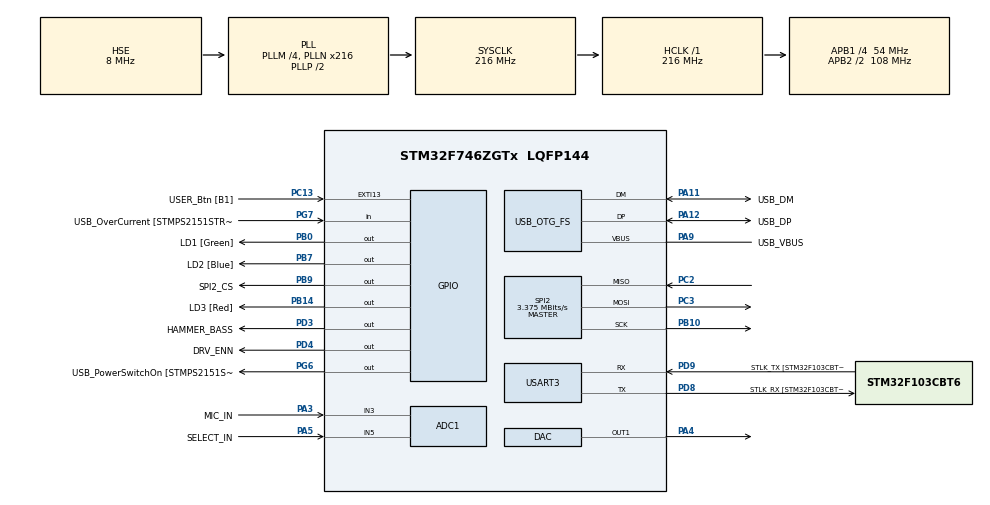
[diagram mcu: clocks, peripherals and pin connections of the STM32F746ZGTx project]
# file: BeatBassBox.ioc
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ADC1.Channel-0\#ChannelRegularConversion=ADC_CHANNEL_3
ADC1.ClockPrescaler=ADC_CLOCK_SYNC_PCLK_DIV8
ADC1.ContinuousConvMode=DISABLE
ADC1.DMAContinuousRequests=ENABLE
ADC1.EOCSelection=ADC_EOC_SEQ_CONV
ADC1.ExternalTrigConv=ADC_EXTERNALTRIGCONV_T5_TRGO
ADC1.ExternalTrigConvEdge=ADC_EXTERNALTRIGCONVEDGE_RISING
ADC1.NbrOfConversion=1
ADC1.NbrOfConversionFlag=1
ADC1.Rank-0\#ChannelRegularConversion=1
ADC1.SamplingTime-0\#ChannelRegularConversion=ADC_SAMPLETIME_480CYCLES
ADC1.master=1
ADC2.Channel-0\#ChannelRegularConversion=ADC_CHANNEL_5
ADC2.ClockPrescaler=ADC_CLOCK_SYNC_PCLK_DIV8
ADC2.NbrOfConversionFlag=1
ADC2.Rank-0\#ChannelRegularConversion=1
ADC2.SamplingTime-0\#ChannelRegularConversion=ADC_SAMPLETIME_3CYCLES
Dma.ADC1.0.Direction=DMA_PERIPH_TO_MEMORY
Dma.ADC1.0.FIFOMode=DMA_FIFOMODE_DISABLE
Dma.ADC1.0.Instance=DMA2_Stream0
Dma.ADC1.0.MemDataAlignment=DMA_MDATAALIGN_HALFWORD
Dma.ADC1.0.MemInc=DMA_MINC_ENABLE
Dma.ADC1.0.Mode=DMA_CIRCULAR
Dma.ADC1.0.PeriphDataAlignment=DMA_PDATAALIGN_HALFWORD
Dma.ADC1.0.PeriphInc=DMA_PINC_DISABLE
Dma.ADC1.0.Priority=DMA_PRIORITY_LOW
Dma.Request0=ADC1
Dma.Request1=SPI2_TX
Dma.Request2=SPI2_RX
Dma.SPI2_RX.2.Direction=DMA_PERIPH_TO_MEMORY
Dma.SPI2_RX.2.FIFOMode=DMA_FIFOMODE_DISABLE
Dma.SPI2_RX.2.Instance=DMA1_Stream3
Dma.SPI2_RX.2.MemDataAlignment=DMA_MDATAALIGN_BYTE
Dma.SPI2_RX.2.MemInc=DMA_MINC_ENABLE
Dma.SPI2_RX.2.Mode=DMA_NORMAL
Dma.SPI2_RX.2.PeriphDataAlignment=DMA_PDATAALIGN_BYTE
Dma.SPI2_RX.2.PeriphInc=DMA_PINC_DISABLE
Dma.SPI2_RX.2.Priority=DMA_PRIORITY_LOW
Dma.SPI2_TX.1.Direction=DMA_MEMORY_TO_PERIPH
Dma.SPI2_TX.1.FIFOMode=DMA_FIFOMODE_DISABLE
Dma.SPI2_TX.1.Instance=DMA1_Stream4
Dma.SPI2_TX.1.MemDataAlignment=DMA_MDATAALIGN_BYTE
Dma.SPI2_TX.1.MemInc=DMA_MINC_ENABLE
Dma.SPI2_TX.1.Mode=DMA_NORMAL
Dma.SPI2_TX.1.PeriphDataAlignment=DMA_PDATAALIGN_BYTE
Dma.SPI2_TX.1.PeriphInc=DMA_PINC_DISABLE
Dma.SPI2_TX.1.Priority=DMA_PRIORITY_LOW
Mcu.Family=STM32F7
Mcu.Name=STM32F746ZGTx
Mcu.Package=LQFP144
NVIC.DMA1_Stream3_IRQn=true\:0\:0\:false\:false\:true\:false\:true
NVIC.DMA1_Stream4_IRQn=true\:0\:0\:false\:false\:true\:false\:true
NVIC.DMA2_Stream0_IRQn=true\:0\:0\:false\:false\:true\:false\:true
NVIC.OTG_FS_IRQn=true\:0\:0\:false\:false\:true\:false\:true
NVIC.PriorityGroup=NVIC_PRIORITYGROUP_4
NVIC.USART3_IRQn=true\:0\:0\:false\:false\:true\:true\:true
PA1.GPIO_Label=RMII_REF_CLK [LAN8742A-CZ-TR_REFCLK0]
PA1.Signal=ETH_REF_CLK
PA10.GPIO_Label=USB_ID
PA10.Signal=USB_OTG_FS_ID
PA11.GPIO_Label=USB_DM
PA11.Mode=Host_Only
PA11.Signal=USB_OTG_FS_DM
PA12.GPIO_Label=USB_DP
PA12.Mode=Host_Only
PA12.Signal=USB_OTG_FS_DP
PA13.GPIO_Label=TMS
PA13.Mode=Serial_Wire
PA13.Signal=SYS_JTMS-SWDIO
PA14.GPIO_Label=TCK
PA14.Mode=Serial_Wire
PA14.Signal=SYS_JTCK-SWCLK
PA2.GPIO_Label=RMII_MDIO [LAN8742A-CZ-TR_MDIO]
PA2.Signal=ETH_MDIO
PA3.GPIO_Label=MIC_IN
PA3.Signal=ADCx_IN3
PA4.Signal=COMP_DAC1_group
PA5.GPIO_Label=SELECT_IN
PA5.Signal=ADCx_IN5
PA7.GPIO_Label=RMII_CRS_DV [LAN8742A-CZ-TR_CRS_DV]
PA7.Signal=ETH_CRS_DV
PA8.GPIO_Label=USB_SOF [TP1]
PA8.Signal=USB_OTG_FS_SOF
PA9.GPIO_Label=USB_VBUS
PA9.Mode=Activate_VBUS
PA9.Signal=USB_OTG_FS_VBUS
PB0.GPIO_Label=LD1 [Green]
PB0.Signal=GPIO_Output
PB10.Mode=Full_Duplex_Master
PB10.Signal=SPI2_SCK
PB13.GPIO_Label=RMII_TXD1 [LAN8742A-CZ-TR_TXD1]
PB13.Signal=ETH_TXD1
PB14.GPIO_Label=LD3 [Red]
PB14.Signal=GPIO_Output
PB3.GPIO_Label=SW0
PB3.Signal=SYS_JTDO-SWO
PB7.GPIO_Label=LD2 [Blue]
PB7.Signal=GPIO_Output
PB9.GPIO_Label=SPI2_CS
PB9.PinState=GPIO_PIN_SET
PB9.Signal=GPIO_Output
PC1.GPIO_Label=RMII_MDC [LAN8742A-CZ-TR_MDC]
PC1.Signal=ETH_MDC
PC13.GPIO_Label=USER_Btn [B1]
PC13.Signal=GPXTI13
PC14/OSC32_IN.Mode=LSE-External-Oscillator
PC14/OSC32_IN.Signal=RCC_OSC32_IN
PC15/OSC32_OUT.Mode=LSE-External-Oscillator
PC15/OSC32_OUT.Signal=RCC_OSC32_OUT
PC2.Mode=Full_Duplex_Master
PC2.Signal=SPI2_MISO
PC3.Mode=Full_Duplex_Master
PC3.Signal=SPI2_MOSI
PC4.GPIO_Label=RMII_RXD0 [LAN8742A-CZ-TR_RXD0]
PC4.Signal=ETH_RXD0
PC5.GPIO_Label=RMII_RXD1 [LAN8742A-CZ-TR_RXD1]
PC5.Signal=ETH_RXD1
PD3.GPIO_Label=HAMMER_BASS
PD3.Signal=GPIO_Output
PD4.GPIO_Label=DRV_ENN
PD4.PinState=GPIO_PIN_SET
PD4.Signal=GPIO_Output
PD8.GPIO_Label=STLK_RX [STM32F103CBT6_PA3]
PD8.Mode=Asynchronous
PD8.Signal=USART3_TX
PD9.GPIO_Label=STLK_TX [STM32F103CBT6_PA2]
PD9.Mode=Asynchronous
PD9.Signal=USART3_RX
PG11.GPIO_Label=RMII_TX_EN [LAN8742A-CZ-TR_TXEN]
PG11.Signal=ETH_TX_EN
PG13.GPIO_Label=RMII_TXD0 [LAN8742A-CZ-TR_TXD0]
PG13.Signal=ETH_TXD0
PG6.GPIO_Label=USB_PowerSwitchOn [STMPS2151STR_EN]
PG6.PinState=GPIO_PIN_RESET
PG6.Signal=GPIO_Output
PG7.GPIO_Label=USB_OverCurrent [STMPS2151STR_FAULT]
PG7.Signal=GPIO_Input
PH0/OSC_IN.GPIO_Label=MCO [STM32F103CBT6_PA8]
PH0/OSC_IN.Mode=HSE-External-Clock-Source
PH0/OSC_IN.Signal=RCC_OSC_IN
PH1/OSC_OUT.Mode=HSE-External-Clock-Source
PH1/OSC_OUT.Signal=RCC_OSC_OUT
ProjectManager.HeapSize=0x200
ProjectManager.StackSize=0x400
ProjectManager.TargetToolchain=STM32CubeIDE
RCC.48MHZClocksFreq_Value=24000000
RCC.AHBFreq_Value=216000000
RCC.APB1CLKDivider=RCC_HCLK_DIV4
RCC.APB1Freq_Value=54000000
RCC.APB1TimFreq_Value=108000000
RCC.APB2CLKDivider=RCC_HCLK_DIV2
RCC.APB2Freq_Value=108000000
RCC.APB2TimFreq_Value=216000000
RCC.CortexFreq_Value=216000000
RCC.HCLKFreq_Value=216000000
RCC.HSE_VALUE=8000000
RCC.HSI_VALUE=16000000
RCC.PLLM=4
RCC.PLLMUL=RCC_PLL_MUL9
RCC.PLLN=216
RCC.PLLQ=9
RCC.PRESCALERUSB=RCC_USBCLKSOURCE_PLL_DIV1_5
RCC.SYSCLKFreq_VALUE=216000000
RCC.SYSCLKSource=RCC_SYSCLKSOURCE_PLLCLK
RCC.SYSCLKSourceVirtual=RCC_SYSCLKSOURCE_PLLCLK
RCC.USBFreq_Value=48000000
RCC.VCOOutputFreq_Value=432000000
SH.ADCx_IN3.0=ADC1_IN3,IN3
SH.ADCx_IN5.0=ADC1_IN5,IN5
SH.ADCx_IN5.1=ADC2_IN5,IN5
SH.COMP_DAC1_group.0=DAC_OUT1,DAC_OUT1
SPI2.BaudRatePrescaler=SPI_BAUDRATEPRESCALER_16
SPI2.CLKPhase=SPI_PHASE_2EDGE
SPI2.CLKPolarity=SPI_POLARITY_HIGH
SPI2.CalculateBaudRate=3.375 MBits/s
SPI2.DataSize=SPI_DATASIZE_8BIT
SPI2.Direction=SPI_DIRECTION_2LINES
SPI2.FirstBit=SPI_FIRSTBIT_MSB
SPI2.Mode=SPI_MODE_MASTER
SPI2.TIMode=SPI_TIMODE_DISABLE
SPI2.VirtualType=VM_MASTER
TIM5.AutoReloadPreload=TIM_AUTORELOAD_PRELOAD_ENABLE
TIM5.Period=135-1
TIM5.Prescaler=50-1
TIM5.TIM_MasterOutputTrigger=TIM_TRGO_UPDATE
USART3.VirtualMode-Asynchronous=VM_ASYNC
USB_HOST.BSP.number=1
USB_HOST.USBH_HandleTypeDef-MSC_FS=hUsbHostFS
USB_HOST.VirtualModeFS=Msc
USB_HOST0.BSP.STBoard=false
USB_HOST0.BSP.api=Unknown
USB_HOST0.BSP.i2caddr=0
USB_HOST0.BSP.instance=PG6
USB_HOST0.BSP.ip=GPIO
USB_HOST0.BSP.mode=Output
USB_HOST0.BSP.name=Drive_VBUS_FS
USB_HOST0.BSP.solution=PG6
USB_OTG_FS.VirtualMode=Host_Only
USB_OTG_FS.phy_itface=HCD_PHY_EMBEDDED
VP_FATFS_VS_USB.Mode=USB
VP_TIM5_VS_ClockSourceINT.Mode=Internal
VP_USB_HOST_VS_USB_HOST_MSC_FS.Mode=MSC_FS
board=NUCLEO-F746ZG

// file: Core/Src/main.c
/* USER CODE BEGIN Header */
/**
  ******************************************************************************
  * @file           : main.c
  * @brief          : Main program body
  ******************************************************************************
  * @attention
  *
  * <h2><center>&copy; Copyright (c) 2021 STMicroelectronics.
  * All rights reserved.</center></h2>
  *
  * This software component is licensed by ST under BSD 3-Clause license,
  * the "License"; You may not use this file except in compliance with the
  * License. You may obtain a copy of the License at:
  *                        opensource.org/licenses/BSD-3-Clause
  *
  ******************************************************************************
  */
/* USER CODE END Header */
#include "main.h"
#include "adc.h"
#include "dac.h"
#include "dma.h"
#include "fatfs.h"
#include "spi.h"
#include "tim.h"
#include "usart.h"
#include "usb_host.h"
#include "gpio.h"

/* USER CODE BEGIN Includes */
#include "frqdetect.h"
#include "tmc5160.h"
#include "bass.h"
#include "approximation.h"
#include "hammer.h"
#include "song.h"
#include "player.h"
#include "com.h"
#include "console.h"
#include "errorhandler.h"
#include "led.h"
#include "delayline.h"

/* USER CODE END Includes */

/* USER CODE BEGIN PV */
int bTick1ms;
int iCntTask10ms;
int iCntTask100ms;
/* USER CODE END PV */

void SystemClock_Config(void);
void MX_USB_HOST_Process(void);

int main(void)
{

  /* MCU Configuration--------------------------------------------------------*/

  /* Reset of all peripherals, Initializes the Flash interface and the Systick. */
  HAL_Init();

  /* Configure the system clock */
  SystemClock_Config();

  /* Initialize all configured peripherals */
  MX_GPIO_Init();
  MX_DMA_Init();
  MX_USART3_UART_Init();
  MX_ADC1_Init();
  MX_TIM5_Init();
  MX_DAC_Init();
  MX_SPI2_Init();
  MX_FATFS_Init();
  MX_USB_HOST_Init();
  MX_ADC2_Init();
  /* USER CODE BEGIN 2 */
  LED_Init();
  ERRORHANDLER_Init();
  COM_Init();
  CONSOLE_Init();
  FRQDETECT_Init();
  TMC5160_Init();
  BASS_Init();
  HAMMER_Init();
  SONG_Init();
  PLAYER_Init();
  APPROX_Init();
  DELAYLINE_Init();

  /* USER CODE END 2 */

  /* Infinite loop */
  /* USER CODE BEGIN WHILE */
  while (1)
  {
	  if (bTick1ms)
	  {
		  // 1ms Tasks
  		  FRQDETECT_Task1ms();
	  	  COM_RxBufferTask();
	  	  TMC5160_Task1ms();
  		  BASS_Task1ms();
  		  HAMMER_Task1ms();
  		  SONG_Task1ms();
  		  PLAYER_Task1ms();
  		  LED_Task1ms();
  		  DELAYLINE_Task1ms();

	  	  // 10ms Tasks. Use values of 0..8 (9 is for 100ms tasks)
	  	  if (iCntTask10ms == 1)
	  	  {
//	  		FRQDETECT_Task10ms();
	  	  }

	  	  // 100ms Tasks. Use values of 90..99
	  	  if (iCntTask100ms == 90)
	  	  {
	  		FRQDETECT_Task100ms();
	  	  }
	  	  else if (iCntTask100ms == 91)
	  	  {
	  	  	TMC5160_Task100ms();
	  	  }
	  	  else if (iCntTask100ms == 92)
	  	  {
	  	  	PLAYER_Task100ms();
	  	  }

	  	  // Count the 10ms and 100ms Task
		  bTick1ms = 0;
	  	  iCntTask10ms++;
	  	  iCntTask100ms++;
  		  if (iCntTask10ms == 10)
  		  {
  			iCntTask10ms = 0;
  		  }
  		  if (iCntTask100ms == 100)
  		  {
  			iCntTask100ms = 0;
  		  }
	  }
    /* USER CODE END WHILE */
    MX_USB_HOST_Process();

  }
}

void SystemClock_Config(void)
{
  RCC_OscInitTypeDef RCC_OscInitStruct = {0};
  RCC_ClkInitTypeDef RCC_ClkInitStruct = {0};
  RCC_PeriphCLKInitTypeDef PeriphClkInitStruct = {0};

  /** Configure LSE Drive Capability
  */
  HAL_PWR_EnableBkUpAccess();
  /** Configure the main internal regulator output voltage
  */
  __HAL_RCC_PWR_CLK_ENABLE();
  __HAL_PWR_VOLTAGESCALING_CONFIG(PWR_REGULATOR_VOLTAGE_SCALE1);
  /** Initializes the RCC Oscillators according to the specified parameters
  * in the RCC_OscInitTypeDef structure.
  */
  RCC_OscInitStruct.OscillatorType = RCC_OSCILLATORTYPE_HSE;
  RCC_OscInitStruct.HSEState = RCC_HSE_BYPASS;
  RCC_OscInitStruct.PLL.PLLState = RCC_PLL_ON;
  RCC_OscInitStruct.PLL.PLLSource = RCC_PLLSOURCE_HSE;
  RCC_OscInitStruct.PLL.PLLM = 4;
  RCC_OscInitStruct.PLL.PLLN = 216;
  RCC_OscInitStruct.PLL.PLLP = RCC_PLLP_DIV2;
  RCC_OscInitStruct.PLL.PLLQ = 9;
  if (HAL_RCC_OscConfig(&RCC_OscInitStruct) != HAL_OK)
  {
    Error_Handler();
  }
  /** Activate the Over-Drive mode
  */
  if (HAL_PWREx_EnableOverDrive() != HAL_OK)
  {
    Error_Handler();
  }
  /** Initializes the CPU, AHB and APB buses clocks
  */
  RCC_ClkInitStruct.ClockType = RCC_CLOCKTYPE_HCLK|RCC_CLOCKTYPE_SYSCLK
                              |RCC_CLOCKTYPE_PCLK1|RCC_CLOCKTYPE_PCLK2;
  RCC_ClkInitStruct.SYSCLKSource = RCC_SYSCLKSOURCE_PLLCLK;
  RCC_ClkInitStruct.AHBCLKDivider = RCC_SYSCLK_DIV1;
  RCC_ClkInitStruct.APB1CLKDivider = RCC_HCLK_DIV4;
  RCC_ClkInitStruct.APB2CLKDivider = RCC_HCLK_DIV2;

  if (HAL_RCC_ClockConfig(&RCC_ClkInitStruct, FLASH_LATENCY_7) != HAL_OK)
  {
    Error_Handler();
  }
  PeriphClkInitStruct.PeriphClockSelection = RCC_PERIPHCLK_USART3|RCC_PERIPHCLK_CLK48;
  PeriphClkInitStruct.Usart3ClockSelection = RCC_USART3CLKSOURCE_PCLK1;
  PeriphClkInitStruct.Clk48ClockSelection = RCC_CLK48SOURCE_PLL;
  if (HAL_RCCEx_PeriphCLKConfig(&PeriphClkInitStruct) != HAL_OK)
  {
    Error_Handler();
  }
}

void Error_Handler(void)
{
  __disable_irq();
  while (1)
  {
  }
}

/************************ (C) COPYRIGHT STMicroelectronics *****END OF FILE****/
